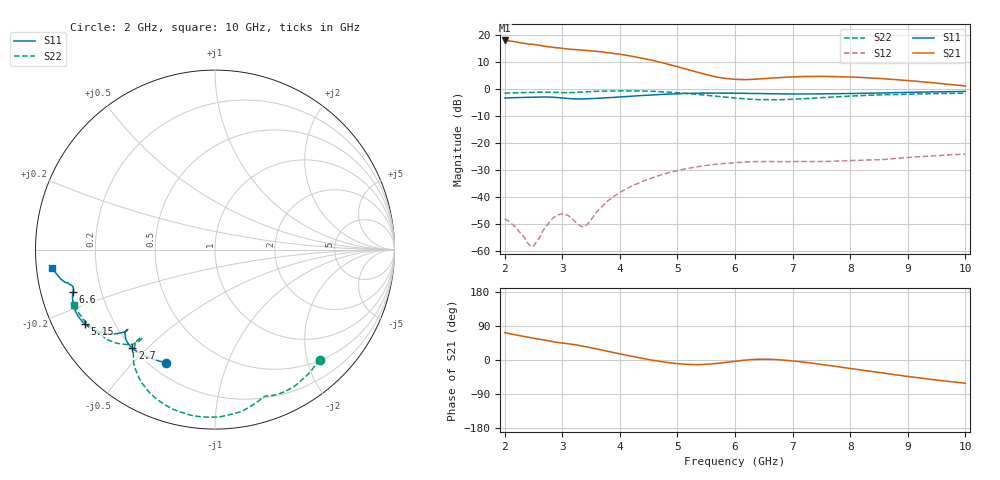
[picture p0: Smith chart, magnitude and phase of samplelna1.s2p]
# MHz S RI R 50
! S-Parameters data
! Freq  reS11  imS11  reS21  imS21  reS12  imS12  reS22  imS22
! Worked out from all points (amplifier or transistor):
!   161 points, 2 GHz to 10 GHz, reference 50 ohm
!   highest |S21| = 18.1 dB at 2 GHz (marker M1)
!   |S21| within 3 dB of that: start of sweep to 3.03 GHz
!   unconditionally stable (mu >= 1): start of sweep to 3.775 GHz
!   at 3.3 GHz: K = 4.44, MAG = 23.2 dB, |S12| = -50.6 dB
!   at 6 GHz: K = 0.73, MSG = 15.5 dB, |S12| = -27.3 dB
!   at 10 GHz: K = -0.39, MSG = 12.6 dB, |S12| = -24.0 dB
!   lowest NFmin = 1.68 dB at 4.9 GHz
!   S11 on the Smith chart (normalised r, x): 2 GHz: 0.26, -0.63; 2.7 GHz: 0.20, -0.45; 5.15 GHz: 0.10, -0.26; 6.6 GHz: 0.10, -0.14; 10 GHz: 0.05, -0.06
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2000  -0.272 -0.633  2.476 7.668  0.00388 5.97e-06  0.5827 -0.6126
2050  -0.288 -0.6258  2.683 7.571  0.00369 5.79e-06  0.5731 -0.6262
2200  -0.3302 -0.6153  3.071 6.912  0.00269 4.51e-06  0.5412 -0.6684
2250  -0.3426 -0.6121  3.17 6.634  0.00229 0.000104  0.5295 -0.6818
2450  -0.3984 -0.5869  3.55 5.89  0.000995 0.000699  0.4754 -0.7339
2500  -0.4111 -0.5796  3.647 5.74  0.000696 0.000998  0.4602 -0.7468
2700  -0.4613 -0.5497  3.85 4.944  -5.32e-06 0.00269  0.3935 -0.7889
3000  -0.5011 -0.4718  4.087 4.05  0.00278 0.00399  0.2943 -0.815
3350  -0.4869 -0.4465  4.265 3.196  0.0016 -0.00229  0.2189 -0.8599
3700  -0.5082 -0.4606  4.446 2.141  -0.00568 -0.0036  0.0963 -0.9162
4000  -0.5449 -0.4693  4.305 1.234  -0.0121 -0.00162  -0.0284 -0.9334
4350  -0.5989 -0.4683  3.829 0.3657  -0.0183 0.00345  -0.1758 -0.9097
4700  -0.6572 -0.4542  3.176 -0.2101  -0.0229 0.0107  -0.3039 -0.8474
4950  -0.6982 -0.4339  2.684 -0.4182  -0.0246 0.017  -0.3762 -0.7837
5150  -0.7269 -0.4125  2.327 -0.4652  -0.0248 0.0223  -0.4171 -0.7267
5550  -0.7689 -0.3597  1.783 -0.3417  -0.0223 0.0321  -0.4539 -0.6156
6000  -0.7899 -0.2981  1.529 -0.0863  -0.0164 0.0399  -0.4432 -0.5254
6600  -0.792 -0.2365  1.601 0.0522  -0.00704 0.0449  -0.4075 -0.4897
7350  -0.7911 -0.2058  1.713 -0.259  -0.000958 0.0453  -0.441 -0.5203
8000  -0.8096 -0.1951  1.565 -0.6429  0.000337 0.0473  -0.5272 -0.525
8700  -0.8419 -0.1773  1.218 -0.9319  0.000339 0.0509  -0.6357 -0.4767
10000  -0.9055 -0.1043  0.5361 -1.003  0.00275 0.0629  -0.7838 -0.3091
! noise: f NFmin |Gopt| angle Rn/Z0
4900  1.68  0.6  156.8  0.077
5000  1.72  0.6  157.7  0.076
5100  1.75  0.6  158.5  0.076
5200  1.79  0.61  159.4  0.075
5300  1.84  0.61  160.2  0.075
5500  1.94  0.62  162  0.074
5600  2.01  0.63  162.9  0.074
5700  2.07  0.63  164  0.073
5800  2.1  0.63  164.8  0.072
6000  2.17  0.63  166.1  0.071
